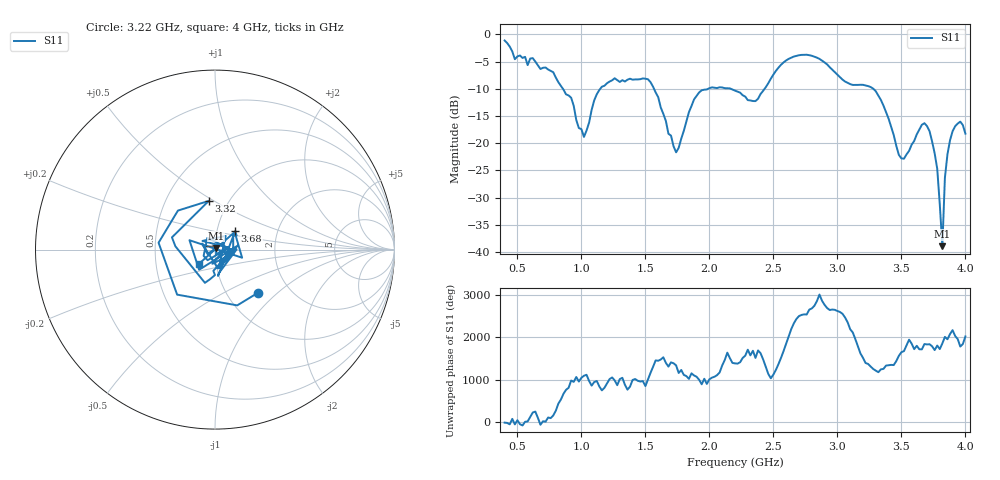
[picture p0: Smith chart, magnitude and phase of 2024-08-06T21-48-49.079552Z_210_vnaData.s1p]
!Created with skrf (http://scikit-rf.org).
# Hz S RI R 50.0
!freq ReS11 ImS11
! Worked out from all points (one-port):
!   181 points, 400 MHz to 4 GHz, reference 50 ohm
!   lowest |S11| = -38.9 dB at 3.82 GHz (marker M1), VSWR 1.02, Z = 50.6 + j0.958 ohm
!   |S11| at or under -10 dB: 855.4 MHz to 1.148 GHz (292.1 MHz wide, 29.2 % of centre); 1.567 GHz to 1.991 GHz (423.9 MHz wide, 23.8 % of centre); 3.281 GHz to end of sweep (the widest 3 of 4)
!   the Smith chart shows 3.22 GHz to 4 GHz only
!   S11 on the Smith chart (normalised r, x): 3.22 GHz: 1.39, -0.76; 3.32 GHz: 0.81, +0.47; 3.68 GHz: 1.22, +0.26; 4 GHz: 0.82, -0.14
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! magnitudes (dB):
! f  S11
! 400 MHz  -1.1
! 480 MHz  -4.6
! 620 MHz  -4.4
! 860 MHz  -10.2
! 1.02 GHz  -18.9
! 1.14 GHz  -10.2
! 1.3 GHz  -8.8
! 1.52 GHz  -8.3
! 1.74 GHz  -21.7
! 1.76 GHz  -20.9
! 1.92 GHz  -10.7
! 2.2 GHz  -10.3
! 2.36 GHz  -12.3
! 2.66 GHz  -4.1
! 2.86 GHz  -4.5
! 3.1 GHz  -9.1
! 3.22 GHz  -9.4
! 3.32 GHz  -11.3
! 3.48 GHz  -22.1
! 3.56 GHz  -21.4
! 3.68 GHz  -16.3
! 3.72 GHz  -17.8
! 3.78 GHz  -24.7
! 3.82 GHz  -38.9
! 3.84 GHz  -26.3
! 3.88 GHz  -19.5
! 3.96 GHz  -16.0
! 4 GHz  -18.2
